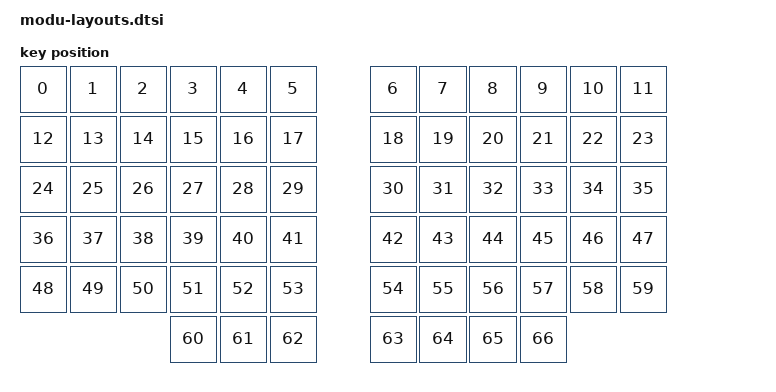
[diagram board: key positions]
/*
 * Copyright (c) 2026 EKS Inc.
 * Created by Ryu.
 * SPDX-License-Identifier: LicenseRef-EKS-NonCommercial-1.0
 *
 * Physical layout for ZMK Studio and other keymap editors.
 *
 * Units are 1/100 of a key, so 100 = one 1u key. The order of `keys` must
 * match `default_transform`'s map exactly - entry N here describes keymap
 * position N - so this file is only correct as long as that map is.
 *
 * Geometry (ortholinear, no column stagger):
 *
 *   left columns   x =   0 100 200 300 400 500
 *   right columns  x = 700 800 900 1000 1100 1200   (2u gap between halves)
 *   rows           y =   0 100 200 300 400, thumbs at 500
 *
 * The thumb clusters sit under the inner three columns of each half, which is
 * how they are drawn in modu.dtsi's matrix comment and in KEYMAP.md.
 *
 * Seven of these positions have no switch fitted, so an editor draws seven
 * keys that cannot be pressed. That is on purpose - decided 2026-09-02:
 *
 *   - Row 4, the six middle positions. The matrix is 5x6 per half and row 4
 *     scans all six columns, but only three switches are populated. These
 *     could be dropped from the transform (ZMK's own shields do trim theirs),
 *     but every keymap row being twelve wide is what keeps modu.keymap
 *     readable and lined up with the ASCII diagrams above each layer.
 *     Readability won; the cost is six keys an editor draws and nothing else.
 *
 *   - The outermost right thumb position. This one is NOT free to drop: P1.08
 *     is really wired (see kscan_direct in modu_right.overlay, which has four
 *     inputs to the left half's three - the `B` in modu.dtsi's comment). The
 *     pad exists and only the switch is missing, so removing it from the
 *     transform would make a real input unbindable.
 *
 * Either way the keymap already carries `&none` at all seven, so what the
 * editor shows is what the keymap says.
 */

#include <physical_layouts.dtsi>

/ {
    modu_layout: modu_layout {
        compatible = "zmk,physical-layout";
        display-name = "Modu";
        transform = <&default_transform>;

        keys  //                     w   h     x     y   rot    rx    ry
            /* Row 0 */
            = <&key_physical_attrs 100 100     0     0     0     0     0>
            , <&key_physical_attrs 100 100   100     0     0     0     0>
            , <&key_physical_attrs 100 100   200     0     0     0     0>
            , <&key_physical_attrs 100 100   300     0     0     0     0>
            , <&key_physical_attrs 100 100   400     0     0     0     0>
            , <&key_physical_attrs 100 100   500     0     0     0     0>
            , <&key_physical_attrs 100 100   700     0     0     0     0>
            , <&key_physical_attrs 100 100   800     0     0     0     0>
            , <&key_physical_attrs 100 100   900     0     0     0     0>
            , <&key_physical_attrs 100 100  1000     0     0     0     0>
            , <&key_physical_attrs 100 100  1100     0     0     0     0>
            , <&key_physical_attrs 100 100  1200     0     0     0     0>
            /* Row 1 */
            , <&key_physical_attrs 100 100     0   100     0     0     0>
            , <&key_physical_attrs 100 100   100   100     0     0     0>
            , <&key_physical_attrs 100 100   200   100     0     0     0>
            , <&key_physical_attrs 100 100   300   100     0     0     0>
            , <&key_physical_attrs 100 100   400   100     0     0     0>
            , <&key_physical_attrs 100 100   500   100     0     0     0>
            , <&key_physical_attrs 100 100   700   100     0     0     0>
            , <&key_physical_attrs 100 100   800   100     0     0     0>
            , <&key_physical_attrs 100 100   900   100     0     0     0>
            , <&key_physical_attrs 100 100  1000   100     0     0     0>
            , <&key_physical_attrs 100 100  1100   100     0     0     0>
            , <&key_physical_attrs 100 100  1200   100     0     0     0>
            /* Row 2 */
            , <&key_physical_attrs 100 100     0   200     0     0     0>
            , <&key_physical_attrs 100 100   100   200     0     0     0>
            , <&key_physical_attrs 100 100   200   200     0     0     0>
            , <&key_physical_attrs 100 100   300   200     0     0     0>
            , <&key_physical_attrs 100 100   400   200     0     0     0>
            , <&key_physical_attrs 100 100   500   200     0     0     0>
            , <&key_physical_attrs 100 100   700   200     0     0     0>
            , <&key_physical_attrs 100 100   800   200     0     0     0>
            , <&key_physical_attrs 100 100   900   200     0     0     0>
            , <&key_physical_attrs 100 100  1000   200     0     0     0>
            , <&key_physical_attrs 100 100  1100   200     0     0     0>
            , <&key_physical_attrs 100 100  1200   200     0     0     0>
            /* Row 3 */
            , <&key_physical_attrs 100 100     0   300     0     0     0>
            , <&key_physical_attrs 100 100   100   300     0     0     0>
            , <&key_physical_attrs 100 100   200   300     0     0     0>
            , <&key_physical_attrs 100 100   300   300     0     0     0>
            , <&key_physical_attrs 100 100   400   300     0     0     0>
            , <&key_physical_attrs 100 100   500   300     0     0     0>
            , <&key_physical_attrs 100 100   700   300     0     0     0>
            , <&key_physical_attrs 100 100   800   300     0     0     0>
            , <&key_physical_attrs 100 100   900   300     0     0     0>
            , <&key_physical_attrs 100 100  1000   300     0     0     0>
            , <&key_physical_attrs 100 100  1100   300     0     0     0>
            , <&key_physical_attrs 100 100  1200   300     0     0     0>
            /* Row 4 - cols 3,4,5 and 6,7,8 have no switch fitted */
            , <&key_physical_attrs 100 100     0   400     0     0     0>
            , <&key_physical_attrs 100 100   100   400     0     0     0>
            , <&key_physical_attrs 100 100   200   400     0     0     0>
            , <&key_physical_attrs 100 100   300   400     0     0     0>
            , <&key_physical_attrs 100 100   400   400     0     0     0>
            , <&key_physical_attrs 100 100   500   400     0     0     0>
            , <&key_physical_attrs 100 100   700   400     0     0     0>
            , <&key_physical_attrs 100 100   800   400     0     0     0>
            , <&key_physical_attrs 100 100   900   400     0     0     0>
            , <&key_physical_attrs 100 100  1000   400     0     0     0>
            , <&key_physical_attrs 100 100  1100   400     0     0     0>
            , <&key_physical_attrs 100 100  1200   400     0     0     0>
            /* Thumbs - the last right position has no switch fitted */
            , <&key_physical_attrs 100 100   300   500     0     0     0>
            , <&key_physical_attrs 100 100   400   500     0     0     0>
            , <&key_physical_attrs 100 100   500   500     0     0     0>
            , <&key_physical_attrs 100 100   700   500     0     0     0>
            , <&key_physical_attrs 100 100   800   500     0     0     0>
            , <&key_physical_attrs 100 100   900   500     0     0     0>
            , <&key_physical_attrs 100 100  1000   500     0     0     0>
            ;
    };
};
